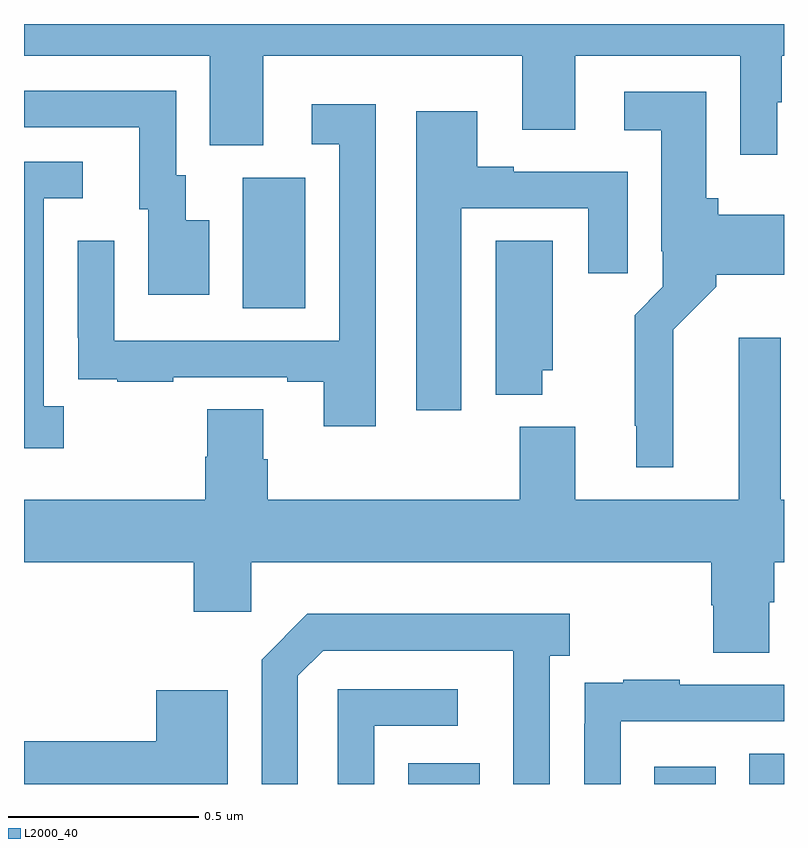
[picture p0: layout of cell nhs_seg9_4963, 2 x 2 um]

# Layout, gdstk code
import gdstk
lib = gdstk.Library(unit=1e-6, precision=1e-09)
def R(c, l, rs):  # rectangles x0, y0, x1, y1
    for r in rs: c.add(gdstk.rectangle(r[:2], r[2:], *l))
def P(c, l, *ps):  # polygons
    for p in ps: c.add(gdstk.Polygon(p, *l))
L2000_40 = (2000, 40)

nhs_seg9_4963 = lib.new_cell('nhs_seg9_4963')
R(nhs_seg9_4963, L2000_40, [(174.011,1198.5,174.199,1198.555), (174.659,1198.5,174.82,1198.546), (174.908,1198.5,175,1198.58), (173.576,1199.752,173.74,1200.096)])
P(nhs_seg9_4963, L2000_40, [(174.982,1200.294),(174.994,1200.294),(174.994,1200.416),(175,1200.416),(175,1200.5),(173,1200.5),(173,1200.416),(173.489,1200.416),(173.489,1200.181),(173.629,1200.181),(173.629,1200.416),(174.311,1200.416),(174.311,1200.222),(174.451,1200.222),(174.451,1200.416),(174.885,1200.416),(174.885,1200.156),(174.982,1200.156)],
  [(173.488,1199.983),(173.425,1199.983),(173.425,1200.102),(173.4,1200.102),(173.4,1200.324),(173,1200.324),(173,1200.228),(173.303,1200.228),(173.303,1200.012),(173.327,1200.012),(173.327,1199.787),(173.488,1199.787)],
  [(174.709,1199.696),(174.822,1199.809),(174.822,1199.84),(175,1199.84),(175,1199.998),(174.827,1199.998),(174.827,1200.042),(174.796,1200.042),(174.796,1200.322),(174.579,1200.322),(174.579,1200.221),(174.677,1200.221),(174.677,1199.902),(174.681,1199.902),(174.681,1199.808),(174.607,1199.734),(174.607,1199.443),(174.611,1199.443),(174.611,1199.333),(174.709,1199.333)],
  [(173.925,1200.289),(173.757,1200.289),(173.757,1200.183),(173.829,1200.183),(173.829,1199.667),(173.238,1199.667),(173.238,1199.929),(173.142,1199.929),(173.142,1199.674),(173.143,1199.674),(173.143,1199.565),(173.245,1199.565),(173.245,1199.559),(173.393,1199.559),(173.393,1199.571),(173.693,1199.571),(173.693,1199.559),(173.789,1199.559),(173.789,1199.442),(173.925,1199.442)],
  [(174.151,1200.015),(174.485,1200.015),(174.485,1199.844),(174.589,1199.844),(174.589,1200.111),(174.289,1200.111),(174.289,1200.124),(174.193,1200.124),(174.193,1200.271),(174.032,1200.271),(174.032,1199.484),(174.151,1199.484)],
  [(173.104,1199.494),(173.052,1199.494),(173.052,1200.042),(173.155,1200.042),(173.155,1200.138),(173,1200.138),(173,1199.384),(173.104,1199.384)],
  [(174.364,1199.589),(174.391,1199.589),(174.391,1199.93),(174.242,1199.93),(174.242,1199.525),(174.364,1199.525)],
  [(174.961,1198.978),(174.974,1198.978),(174.974,1199.084),(175,1199.084),(175,1199.248),(174.991,1199.248),(174.991,1199.674),(174.881,1199.674),(174.881,1199.248),(174.451,1199.248),(174.451,1199.44),(174.304,1199.44),(174.304,1199.248),(173.642,1199.248),(173.642,1199.354),(173.629,1199.354),(173.629,1199.486),(173.482,1199.486),(173.482,1199.361),(173.477,1199.361),(173.477,1199.248),(173,1199.248),(173,1199.084),(173.447,1199.084),(173.447,1198.953),(173.598,1198.953),(173.598,1199.084),(174.809,1199.084),(174.809,1198.971),(174.814,1198.971),(174.814,1198.846),(174.961,1198.846)],
  [(173.721,1198.785),(173.787,1198.851),(174.287,1198.851),(174.287,1198.651),(174.288,1198.651),(174.288,1198.5),(174.384,1198.5),(174.384,1198.838),(174.436,1198.838),(174.436,1198.948),(173.746,1198.948),(173.625,1198.827),(173.625,1198.5),(173.721,1198.5)],
  [(174.57,1198.665),(175,1198.665),(175,1198.761),(174.725,1198.761),(174.725,1198.774),(174.577,1198.774),(174.577,1198.767),(174.475,1198.767),(174.475,1198.658),(174.474,1198.658),(174.474,1198.5),(174.57,1198.5)],
  [(173.922,1198.653),(174.142,1198.653),(174.142,1198.749),(173.826,1198.749),(173.826,1198.5),(173.922,1198.5)],
  [(173.536,1198.747),(173.348,1198.747),(173.348,1198.612),(173,1198.612),(173,1198.5),(173.536,1198.5)])

lib.write_gds('nhs_seg9_4963.gds')
